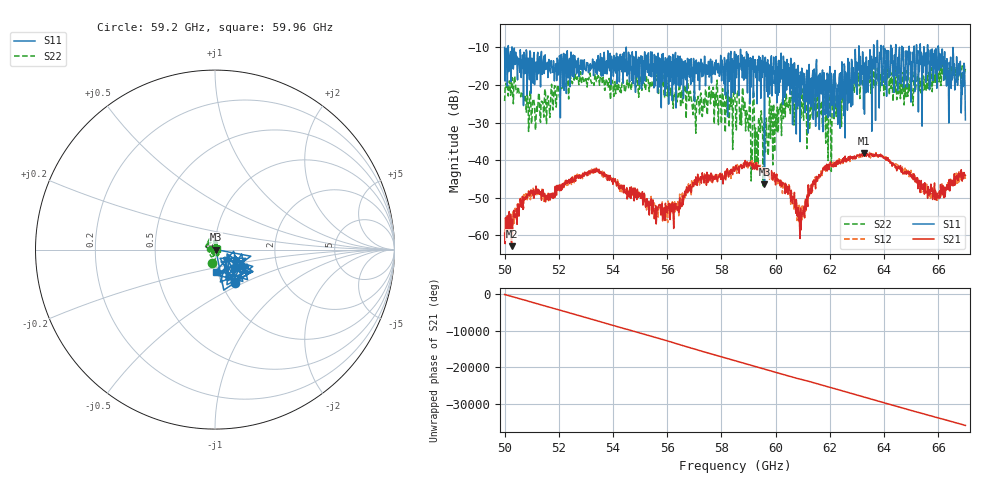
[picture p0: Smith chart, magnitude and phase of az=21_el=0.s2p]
!Created with skrf (http://scikit-rf.org).
# GHz S RI R 50.0
!freq ReS11 ImS11 ReS21 ImS21 ReS12 ImS12 ReS22 ImS22
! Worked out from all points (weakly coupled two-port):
!   1001 points, 50 GHz to 67 GHz, reference 50 ohm
!   highest |S21| = -38.11 dB at 63.24 GHz (marker M1); lowest = -62.9 dB at 50.26 GHz (marker M2)
!   lowest |S11| = -46.5 dB at 59.59 GHz (marker M3), VSWR 1.01, Z = 50.5 + j0.0231 ohm
!   |S11| at or under -10 dB: 50.27 GHz to 54.49 GHz (4.215 GHz wide, 8.05 % of centre); 54.49 GHz to 63.07 GHz (8.583 GHz wide, 14.6 % of centre); 66.01 GHz to end of sweep (the widest 3 of 20)
!   |S22| runs from -46.9 to -13.9 dB; largest |S21 - S12| = 0.002
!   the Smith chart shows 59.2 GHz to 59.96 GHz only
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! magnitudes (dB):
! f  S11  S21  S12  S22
! 50 GHz  -10.0  -59.5  -59.6  -24.3
! 50.26 GHz  -12.5  -62.9  -55.6  -18.9
! 51.07 GHz  -12.2  -50.1  -47.8  -23.7
! 52.84 GHz  -14.2  -44.1  -44.1  -19.3
! 55.68 GHz  -13.5  -52.3  -52.4  -22.2
! 56.31 GHz  -11.3  -51.5  -52.4  -20.6
! 56.99 GHz  -14.6  -46.2  -45.3  -21.7
! 57.62 GHz  -15.3  -43.4  -44.0  -22.1
! 58.5 GHz  -22.3  -42.6  -41.7  -23.8
! 59.59 GHz  -46.5  -43.9  -42.5  -31.2
! 60.32 GHz  -20.1  -46.6  -47.0  -22.6
! 60.88 GHz  -17.5  -57.0  -52.2  -24.9
! 61.34 GHz  -24.6  -48.2  -48.6  -25.2
! 62 GHz  -15.1  -41.1  -41.6  -24.4
! 62.55 GHz  -15.0  -40.0  -40.2  -19.4
! 63.01 GHz  -22.5  -38.6  -38.8  -20.5
! 63.24 GHz  -26.3  -38.1  -38.3  -20.9
! 64.18 GHz  -18.0  -40.2  -40.0  -18.7
! 66.08 GHz  -15.2  -46.5  -49.8  -15.6
! 66.42 GHz  -15.8  -48.2  -47.1  -16.3
! 66.75 GHz  -17.6  -43.4  -46.0  -18.3
! 67 GHz  -29.3  -44.1  -45.0  -15.7
